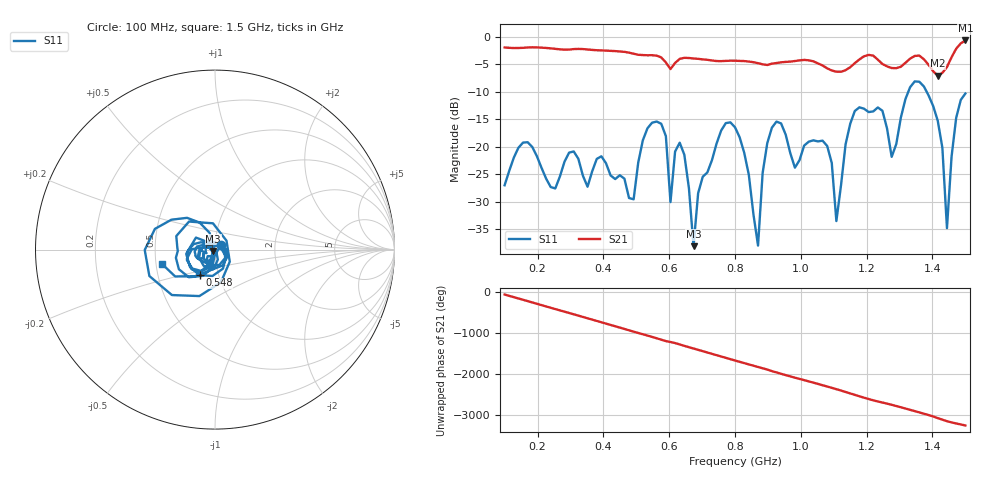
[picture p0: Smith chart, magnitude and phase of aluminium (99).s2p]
! NanoVNA-App
! Date: 2025-09-26 09:58:50
! Start: 100MHz Stop: 1,5GHz Points: 101
! S-Parameter data: F S11 S21 S12 S22
# Hz S RI R 50
!  Frequency  S11_Real  S11_Imag  S21_Real  S21_Imag  S12_Real  S12_Imag  S22_Real  S22_Imag
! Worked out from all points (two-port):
!   101 points, 100 MHz to 1.5 GHz, reference 50 ohm
!   highest |S21| = -0.64 dB at 1.5 GHz (marker M1); lowest = -7.1 dB at 1.416 GHz (marker M2)
!   |S21| within 3 dB of the highest: start of sweep to 572.3 MHz; 1.189 GHz to 1.225 GHz (35.62 MHz wide, 2.95 % of centre)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
!   lowest |S11| = -38.1 dB at 674 MHz (marker M3), VSWR 1.03, Z = 49 - j0.755 ohm
!   |S11| at or under -10 dB: start of sweep to 1.326 GHz; 1.383 GHz to end of sweep
!   S12 and S22 are empty: the file has one direction only
!   S11 on the Smith chart (normalised r, x): 100 MHz: 1.07, +0.06; 548 MHz: 0.81, -0.24; 1.5 GHz: 0.54, -0.09
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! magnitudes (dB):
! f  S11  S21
! 100 MHz  -27.0  -1.9
! 338 MHz  -25.3  -2.2
! 492 MHz  -29.5  -3.1
! 548 MHz  -15.6  -3.3
! 576 MHz  -15.8  -3.7
! 604 MHz  -30.0  -5.8
! 646 MHz  -21.4  -3.8
! 674 MHz  -38.1  -3.9
! 702 MHz  -25.4  -4.1
! 800 MHz  -16.4  -4.3
! 870 MHz  -37.9  -4.8
! 912 MHz  -16.5  -4.9
! 1.038 GHz  -18.8  -4.4
! 1.08 GHz  -19.8  -5.7
! 1.108 GHz  -33.5  -6.3
! 1.164 GHz  -13.5  -4.8
! 1.276 GHz  -21.8  -5.7
! 1.346 GHz  -8.1  -3.5
! 1.416 GHz  -15.2  -7.1
! 1.444 GHz  -34.8  -5.5
! 1.472 GHz  -14.7  -2.1
! 1.5 GHz  -10.3  -0.6
